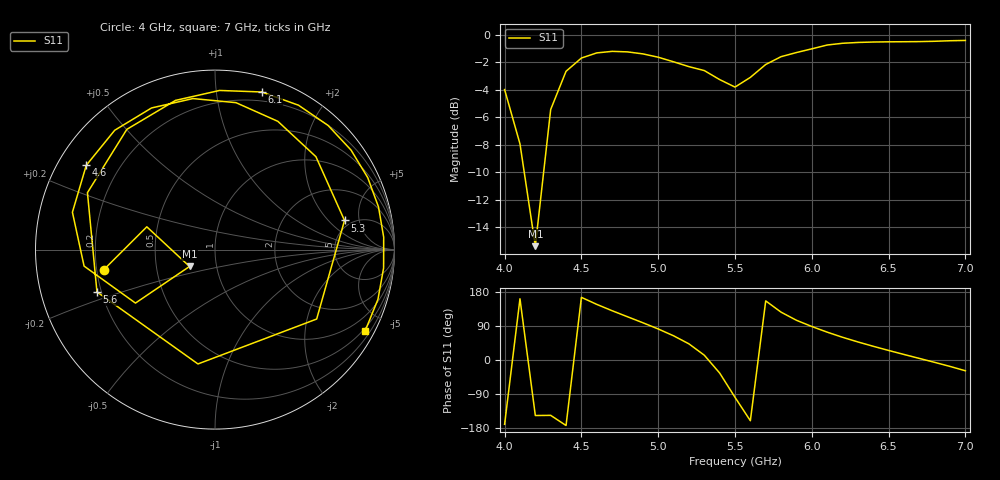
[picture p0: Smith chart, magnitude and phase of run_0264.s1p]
! Touchstone file exported from HFSS 2024.2.0
!  File:  C:/Users/wsak9/Desktop/Sim Fast/Widenad Patch/WP_AI_V1_sweep.aedt
!  Generated:  02:06:28 AM Oct 14, 2026
!  Design:  A1_model
!  Project:  WP_AI_V1_sweep
!  Setup:  Setup1
!  Solution:  Sweep
! Variables:
!  Air_gap = 3.47mm
!  Curve_Amp1 = 3.77
!  Curve_len1 = 1
!  Curve_pos = 13.42mm
!  Extra = 7.79mm
!  H_sub = 0.79mm
!  L_Patch = 22.84mm
!  L_Patch1 = 18.4mm
!  Sx = 4.14mm
!  Sy = 2.16mm
!  WS = 0.75mm
!  W_Patch = 17.37mm
!  W_Patch1 = 10.61mm
!Data is not renormalized
# GHz S MA
! Terminal data exported
! Port[1] = 1
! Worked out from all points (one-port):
!   31 points, 4 GHz to 7 GHz, reference per port
!   lowest |S11| = -15.4 dB at 4.2 GHz (marker M1), VSWR 1.41
!   |S11| at or under -10 dB: 4.128 GHz to 4.254 GHz (126.6 MHz wide, 3.02 % of centre)
!   S11 on the Smith chart (normalised r, x): 4 GHz: 0.23, -0.09; 4.6 GHz: 0.08, +0.30; 5.3 GHz: 4.36, +3.13; 5.6 GHz: 0.18, -0.17; 6.1 GHz: 0.12, +1.33; 7 GHz: 0.41, -3.90
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4  0.6308 -169.7
4.1  0.4005 161.5
4.2  0.1702 -146.5
4.3  0.5339 -146.1
4.4  0.7352 -172.8
4.5  0.8212 165.3
4.6  0.8573 146.8
4.7  0.8685 130.0
4.8  0.8647 114.1
4.9  0.8504 98.3
5  0.827 81.9
5.1  0.7959 63.9
5.2  0.7643 42.6
5.3  0.7396 12.7
5.4  0.6859 -34.3
5.5  0.6441 -98.5
5.6  0.6987 -160.3
5.7  0.7782 155.9
5.8  0.8308 126.2
5.9  0.8599 104.8
6  0.887 88.4
6.1  0.9159 73.5
6.2  0.9292 60.0
6.3  0.9357 47.7
6.5  0.9407 25.2
6.7  0.9424 4.2
6.9  0.9492 -17.0
7  0.9514 -28.5
